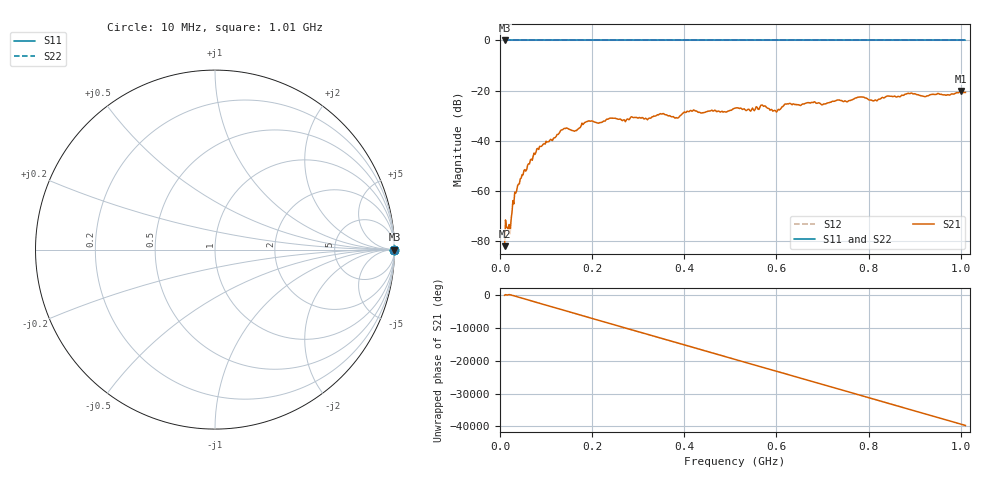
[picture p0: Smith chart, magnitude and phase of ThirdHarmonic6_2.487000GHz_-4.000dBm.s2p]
! 8/17/2025 4:40:42 AM
! C:\ANRITSUVNA\TEMP\TEMP.S2P
! CHANNEL.1
! TR.MEASUREMENT
! RAW.DATA
! RF.CORRECTION.OFF
! AVERAGING.OFF
! IF.BANDWIDTH: 5KHZ
! SWEEPTYPE:  FREQ.SWEEP(Linear)
! Reference Plane Port Info
! PORT:  PORT1  PORT2
! DISTANCE:  0  m  0  m
! TIME:  0  s  0  s
! PHASE.OFFSET:  0  deg.  0  deg.
! LOSS:  0  dB  0  dB
! REF.LOSS:  0  dB  0  dB
! REF.FREQ:  0  Hz  0  Hz
! Power Info
! POWER:  -20  dBm  -20  dBm
! EFF.POWER:  -20  dBm  -20  dBm
! SOURCE.ATTEN:  0  dB  0  dB
! TEST.ATTEN:  0  dB  0  dB
# GHZ S RI R 50.0
! FREQ.GHZ  S11RE  S11IM  S21RE  S21IM  S12RE  S12IM  S22RE  S22IM
!; PortSelection: Port_12
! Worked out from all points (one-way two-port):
!   501 points, 10 MHz to 1.01 GHz, reference 50 ohm
!   highest |S21| = -20.16 dB at 1 GHz (marker M1); lowest = -82.2 dB at 10 MHz (marker M2)
!   lowest |S11| = 0.0 dB at 10 MHz (marker M3)
!   |S11| at or under -10 dB: nowhere
!   |S22| runs from 0.0 to 0.0 dB; largest |S21 - S12| = 1.1
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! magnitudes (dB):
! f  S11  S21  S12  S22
! 10 MHz  0.0  -82.2  0.0  0.0
! 22 MHz  0.0  -77.3  0.0  0.0
! 30 MHz  0.0  -65.3  0.0  0.0
! 36 MHz  0.0  -60.1  0.0  0.0
! 78 MHz  0.0  -44.7  0.0  0.0
! 136 MHz  0.0  -35.6  0.0  0.0
! 164 MHz  0.0  -36.0  0.0  0.0
! 178 MHz  0.0  -33.1  0.0  0.0
! 344 MHz  0.0  -29.8  0.0  0.0
! 384 MHz  0.0  -31.0  0.0  0.0
! 410 MHz  0.0  -28.5  0.0  0.0
! 510 MHz  0.0  -27.0  0.0  0.0
! 548 MHz  0.0  -27.0  0.0  0.0
! 570 MHz  0.0  -25.9  0.0  0.0
! 598 MHz  0.0  -28.1  0.0  0.0
! 622 MHz  0.0  -25.4  0.0  0.0
! 678 MHz  0.0  -24.8  0.0  0.0
! 780 MHz  0.0  -22.6  0.0  0.0
! 814 MHz  0.0  -23.8  0.0  0.0
! 844 MHz  0.0  -22.2  0.0  0.0
! 1 GHz  0.0  -20.2  0.0  0.0
! 1.01 GHz  0.0  -20.8  0.0  0.0
